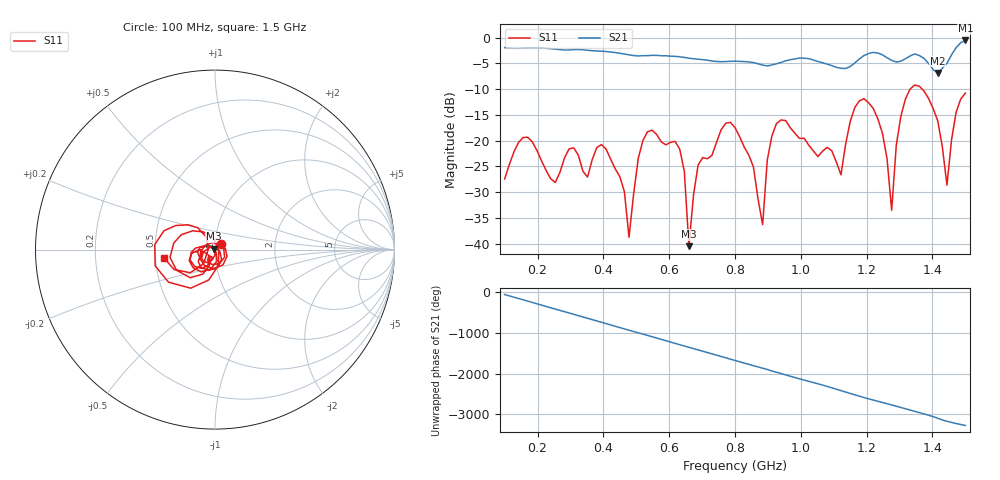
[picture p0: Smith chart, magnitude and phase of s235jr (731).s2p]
! NanoVNA-App
! Date: 2025-09-25 15:09:51
! Start: 100MHz Stop: 1,5GHz Points: 101
! S-Parameter data: F S11 S21 S12 S22
# Hz S RI R 50
!  Frequency  S11_Real  S11_Imag  S21_Real  S21_Imag  S12_Real  S12_Imag  S22_Real  S22_Imag
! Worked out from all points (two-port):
!   101 points, 100 MHz to 1.5 GHz, reference 50 ohm
!   highest |S21| = -0.57 dB at 1.5 GHz (marker M1); lowest = -6.9 dB at 1.416 GHz (marker M2)
!   |S21| within 3 dB of the highest: start of sweep to 504.7 MHz; 507.9 MHz to 594.6 MHz (86.71 MHz wide, 15.7 % of centre) (the widest 2 of 5)
!   lowest |S11| = -40.5 dB at 660 MHz (marker M3), VSWR 1.02, Z = 49.2 + j0.552 ohm
!   |S11| at or under -10 dB: start of sweep to 1.332 GHz; 1.368 GHz to end of sweep
!   S12 and S22 are empty: the file has one direction only
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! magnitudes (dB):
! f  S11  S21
! 100 MHz  -27.5  -2.0
! 156 MHz  -19.4  -2.0
! 338 MHz  -26.0  -2.4
! 408 MHz  -21.6  -2.7
! 478 MHz  -38.8  -3.4
! 520 MHz  -20.0  -3.5
! 576 MHz  -20.3  -3.5
! 632 MHz  -21.7  -3.7
! 660 MHz  -40.5  -4.0
! 688 MHz  -24.7  -4.2
! 800 MHz  -17.5  -4.6
! 884 MHz  -36.3  -5.4
! 926 MHz  -16.7  -5.1
! 1.038 GHz  -22.0  -4.4
! 1.122 GHz  -26.7  -6.0
! 1.192 GHz  -11.9  -3.5
! 1.248 GHz  -18.6  -3.4
! 1.276 GHz  -33.5  -4.4
! 1.332 GHz  -10.0  -3.6
! 1.416 GHz  -16.2  -6.9
! 1.444 GHz  -28.7  -5.0
! 1.5 GHz  -10.8  -0.6
